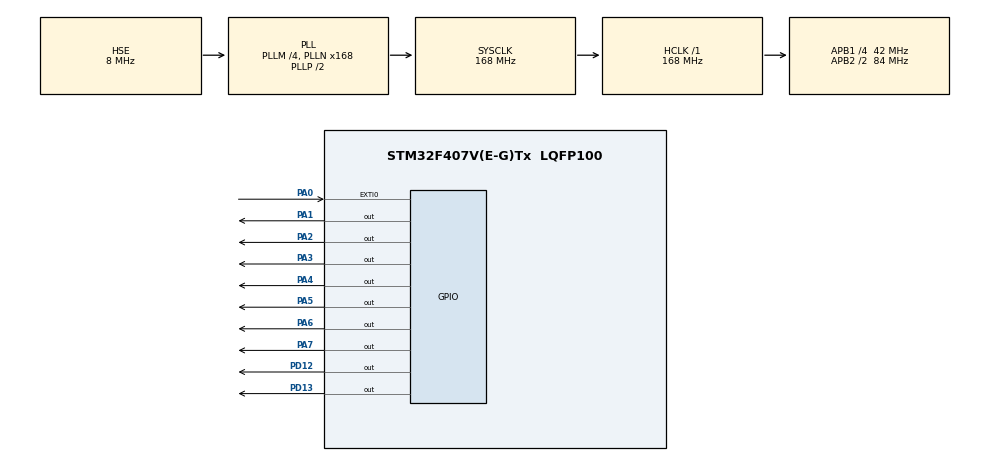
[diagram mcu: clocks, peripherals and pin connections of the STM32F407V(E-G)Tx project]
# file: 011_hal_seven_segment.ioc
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Mcu.Family=STM32F4
Mcu.Name=STM32F407V(E-G)Tx
Mcu.Package=LQFP100
NVIC.EXTI0_IRQn=true\:0\:0\:false\:false\:true\:true\:true\:true
NVIC.PriorityGroup=NVIC_PRIORITYGROUP_4
PA0-WKUP.GPIO_ModeDefaultEXTI=GPIO_MODE_IT_FALLING
PA0-WKUP.GPIO_PuPd=GPIO_PULLDOWN
PA0-WKUP.Signal=GPXTI0
PA1.GPIO_Speed=GPIO_SPEED_FREQ_MEDIUM
PA1.Signal=GPIO_Output
PA13.Mode=Serial_Wire
PA13.Signal=SYS_JTMS-SWDIO
PA14.Mode=Serial_Wire
PA14.Signal=SYS_JTCK-SWCLK
PA2.GPIO_Speed=GPIO_SPEED_FREQ_MEDIUM
PA2.Signal=GPIO_Output
PA3.GPIO_Speed=GPIO_SPEED_FREQ_MEDIUM
PA3.Signal=GPIO_Output
PA4.GPIO_Speed=GPIO_SPEED_FREQ_MEDIUM
PA4.Signal=GPIO_Output
PA5.GPIO_Speed=GPIO_SPEED_FREQ_MEDIUM
PA5.Signal=GPIO_Output
PA6.GPIO_Speed=GPIO_SPEED_FREQ_MEDIUM
PA6.Signal=GPIO_Output
PA7.GPIO_Speed=GPIO_SPEED_FREQ_MEDIUM
PA7.Signal=GPIO_Output
PD12.Signal=GPIO_Output
PD13.Signal=GPIO_Output
PH0-OSC_IN.Mode=HSE-External-Oscillator
PH0-OSC_IN.Signal=RCC_OSC_IN
PH1-OSC_OUT.Mode=HSE-External-Oscillator
PH1-OSC_OUT.Signal=RCC_OSC_OUT
ProjectManager.HeapSize=0x200
ProjectManager.StackSize=0x400
ProjectManager.TargetToolchain=STM32CubeIDE
RCC.48MHZClocksFreq_Value=84000000
RCC.AHBFreq_Value=168000000
RCC.APB1CLKDivider=RCC_HCLK_DIV4
RCC.APB1Freq_Value=42000000
RCC.APB1TimFreq_Value=84000000
RCC.APB2CLKDivider=RCC_HCLK_DIV2
RCC.APB2Freq_Value=84000000
RCC.APB2TimFreq_Value=168000000
RCC.CortexFreq_Value=168000000
RCC.HCLKFreq_Value=168000000
RCC.HSE_VALUE=8000000
RCC.HSI_VALUE=16000000
RCC.LSE_VALUE=32768
RCC.PLLM=4
RCC.PLLN=168
RCC.PLLSourceVirtual=RCC_PLLSOURCE_HSE
RCC.SYSCLKFreq_VALUE=168000000
RCC.SYSCLKSource=RCC_SYSCLKSOURCE_PLLCLK
RCC.VCOOutputFreq_Value=336000000
board=custom

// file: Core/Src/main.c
/* USER CODE BEGIN Header */
/**
  ******************************************************************************
  * @file           : main.c
  * @brief          : Main program body
  ******************************************************************************
  * @attention
  *
  * Copyright (c) 2022 STMicroelectronics.
  * All rights reserved.
  *
  * This software is licensed under terms that can be found in the LICENSE file
  * in the root directory of this software component.
  * If no LICENSE file comes with this software, it is provided AS-IS.
  *
  ******************************************************************************
  */
/* USER CODE END Header */
#include "main.h"

/* USER CODE BEGIN PV */

int i=0,n=0;

/* USER CODE END PV */

void SystemClock_Config(void);
static void MX_GPIO_Init(void);

/* USER CODE BEGIN 0 */

void myfun(int i){

	HAL_GPIO_WritePin(GPIOA, GPIO_PIN_1 | GPIO_PIN_2 | GPIO_PIN_3 | GPIO_PIN_4 | GPIO_PIN_5 | GPIO_PIN_6 | GPIO_PIN_7,1);
	HAL_Delay(250);

	if(i==0){
		HAL_GPIO_WritePin(GPIOA, GPIO_PIN_1 | GPIO_PIN_2 | GPIO_PIN_3 | GPIO_PIN_4 | GPIO_PIN_5| GPIO_PIN_7, 0);
		HAL_Delay(500);
	}else if(i==1){
		HAL_GPIO_WritePin(GPIOA, GPIO_PIN_2 | GPIO_PIN_3 , 0);
		HAL_Delay(500);
	}else if(i==2){
		HAL_GPIO_WritePin(GPIOA, GPIO_PIN_1 | GPIO_PIN_2 | GPIO_PIN_4 | GPIO_PIN_5 | GPIO_PIN_6, 0);
		HAL_Delay(500);
	}else if(i==3){
		HAL_GPIO_WritePin(GPIOA, GPIO_PIN_1 | GPIO_PIN_2 | GPIO_PIN_3 | GPIO_PIN_4 | GPIO_PIN_6, 0);
		HAL_Delay(500);
	}else if(i==4){
		HAL_GPIO_WritePin(GPIOA, GPIO_PIN_2 | GPIO_PIN_3 | GPIO_PIN_6 | GPIO_PIN_7, 0);
		HAL_Delay(500);
	}else if(i==5){
		HAL_GPIO_WritePin(GPIOA, GPIO_PIN_1 | GPIO_PIN_3 | GPIO_PIN_4 | GPIO_PIN_6 | GPIO_PIN_7, 0);
		HAL_Delay(500);
	}else if(i==6){
		HAL_GPIO_WritePin(GPIOA, GPIO_PIN_1 | GPIO_PIN_3 | GPIO_PIN_4 | GPIO_PIN_5 | GPIO_PIN_6 | GPIO_PIN_7, 0);
		HAL_Delay(500);
	}else if(i==7){
		HAL_GPIO_WritePin(GPIOA,GPIO_PIN_1 | GPIO_PIN_2 | GPIO_PIN_3, 0);
		HAL_Delay(500);
	}else if(i==8){
		HAL_GPIO_WritePin(GPIOA, GPIO_PIN_1 | GPIO_PIN_2 | GPIO_PIN_3 | GPIO_PIN_4 | GPIO_PIN_5 | GPIO_PIN_6 | GPIO_PIN_7 , 0);
		HAL_Delay(500);
	}else if(i==9){
		HAL_GPIO_WritePin(GPIOA, GPIO_PIN_1 | GPIO_PIN_2 | GPIO_PIN_3 | GPIO_PIN_4 | GPIO_PIN_6 | GPIO_PIN_7 , 0);
		HAL_Delay(500);
	}else{
		return;
	}

}

void HAL_GPIO_EXTI_Callback(uint16_t GPIO_Pin)
{
	// PA0 buton için ileri geri
	if(n==0){
		n=1;
	}else{
		n=0;
	}
}

/* USER CODE END 0 */

int main(void)
{

  /* MCU Configuration--------------------------------------------------------*/

  /* Reset of all peripherals, Initializes the Flash interface and the Systick. */
  HAL_Init();

  /* Configure the system clock */
  SystemClock_Config();

  /* Initialize all configured peripherals */
  MX_GPIO_Init();

  /* Infinite loop */
  while (1)
  {

    /* USER CODE BEGIN 3 */

	  //HAL_GPIO_WritePin(GPIOA, GPIO_PIN_1 | GPIO_PIN_2 | GPIO_PIN_3 | GPIO_PIN_4 | GPIO_PIN_5 | GPIO_PIN_6 | GPIO_PIN_7 , 0);
	 myfun(i);

	 if(n==0){
		HAL_GPIO_WritePin(GPIOD, GPIO_PIN_12, 1); // ileri PD12
		HAL_GPIO_WritePin(GPIOD, GPIO_PIN_13, 0); // geri  PD13
		 i=i+1;
		 if(i>9){
			 i=8;
			 n=1;
		 }
	 }else if(n==1){
		HAL_GPIO_WritePin(GPIOD, GPIO_PIN_12, 0); // ileri PD12
		HAL_GPIO_WritePin(GPIOD, GPIO_PIN_13, 1); // geri  PD13
		 i=i-1;
		 if(i<0){
			 n=0;
			 i=0;
		 }
	 }else{
		 ;
	 }

  }
  /* USER CODE END 3 */
}

void SystemClock_Config(void)
{
  RCC_OscInitTypeDef RCC_OscInitStruct = {0};
  RCC_ClkInitTypeDef RCC_ClkInitStruct = {0};

  /** Configure the main internal regulator output voltage
  */
  __HAL_RCC_PWR_CLK_ENABLE();
  __HAL_PWR_VOLTAGESCALING_CONFIG(PWR_REGULATOR_VOLTAGE_SCALE1);

  /** Initializes the RCC Oscillators according to the specified parameters
  * in the RCC_OscInitTypeDef structure.
  */
  RCC_OscInitStruct.OscillatorType = RCC_OSCILLATORTYPE_HSE;
  RCC_OscInitStruct.HSEState = RCC_HSE_ON;
  RCC_OscInitStruct.PLL.PLLState = RCC_PLL_ON;
  RCC_OscInitStruct.PLL.PLLSource = RCC_PLLSOURCE_HSE;
  RCC_OscInitStruct.PLL.PLLM = 4;
  RCC_OscInitStruct.PLL.PLLN = 168;
  RCC_OscInitStruct.PLL.PLLP = RCC_PLLP_DIV2;
  RCC_OscInitStruct.PLL.PLLQ = 4;
  if (HAL_RCC_OscConfig(&RCC_OscInitStruct) != HAL_OK)
  {
    Error_Handler();
  }

  /** Initializes the CPU, AHB and APB buses clocks
  */
  RCC_ClkInitStruct.ClockType = RCC_CLOCKTYPE_HCLK|RCC_CLOCKTYPE_SYSCLK
                              |RCC_CLOCKTYPE_PCLK1|RCC_CLOCKTYPE_PCLK2;
  RCC_ClkInitStruct.SYSCLKSource = RCC_SYSCLKSOURCE_PLLCLK;
  RCC_ClkInitStruct.AHBCLKDivider = RCC_SYSCLK_DIV1;
  RCC_ClkInitStruct.APB1CLKDivider = RCC_HCLK_DIV4;
  RCC_ClkInitStruct.APB2CLKDivider = RCC_HCLK_DIV2;

  if (HAL_RCC_ClockConfig(&RCC_ClkInitStruct, FLASH_LATENCY_5) != HAL_OK)
  {
    Error_Handler();
  }
}

static void MX_GPIO_Init(void)
{
  GPIO_InitTypeDef GPIO_InitStruct = {0};

  /* GPIO Ports Clock Enable */
  __HAL_RCC_GPIOH_CLK_ENABLE();
  __HAL_RCC_GPIOA_CLK_ENABLE();
  __HAL_RCC_GPIOD_CLK_ENABLE();

  /*Configure GPIO pin Output Level */
  HAL_GPIO_WritePin(GPIOA, GPIO_PIN_1|GPIO_PIN_2|GPIO_PIN_3|GPIO_PIN_4
                          |GPIO_PIN_5|GPIO_PIN_6|GPIO_PIN_7, GPIO_PIN_RESET);

  /*Configure GPIO pin Output Level */
  HAL_GPIO_WritePin(GPIOD, GPIO_PIN_12|GPIO_PIN_13, GPIO_PIN_RESET);

  /*Configure GPIO pin : PA0 */
  GPIO_InitStruct.Pin = GPIO_PIN_0;
  GPIO_InitStruct.Mode = GPIO_MODE_IT_FALLING;
  GPIO_InitStruct.Pull = GPIO_PULLDOWN;
  HAL_GPIO_Init(GPIOA, &GPIO_InitStruct);

  /*Configure GPIO pins : PA1 PA2 PA3 PA4
                           PA5 PA6 PA7 */
  GPIO_InitStruct.Pin = GPIO_PIN_1|GPIO_PIN_2|GPIO_PIN_3|GPIO_PIN_4
                          |GPIO_PIN_5|GPIO_PIN_6|GPIO_PIN_7;
  GPIO_InitStruct.Mode = GPIO_MODE_OUTPUT_PP;
  GPIO_InitStruct.Pull = GPIO_NOPULL;
  GPIO_InitStruct.Speed = GPIO_SPEED_FREQ_MEDIUM;
  HAL_GPIO_Init(GPIOA, &GPIO_InitStruct);

  /*Configure GPIO pins : PD12 PD13 */
  GPIO_InitStruct.Pin = GPIO_PIN_12|GPIO_PIN_13;
  GPIO_InitStruct.Mode = GPIO_MODE_OUTPUT_PP;
  GPIO_InitStruct.Pull = GPIO_NOPULL;
  GPIO_InitStruct.Speed = GPIO_SPEED_FREQ_LOW;
  HAL_GPIO_Init(GPIOD, &GPIO_InitStruct);

  /* EXTI interrupt init*/
  HAL_NVIC_SetPriority(EXTI0_IRQn, 0, 0);
  HAL_NVIC_EnableIRQ(EXTI0_IRQn);

}

void Error_Handler(void)
{
  __disable_irq();
  while (1)
  {
  }
}
